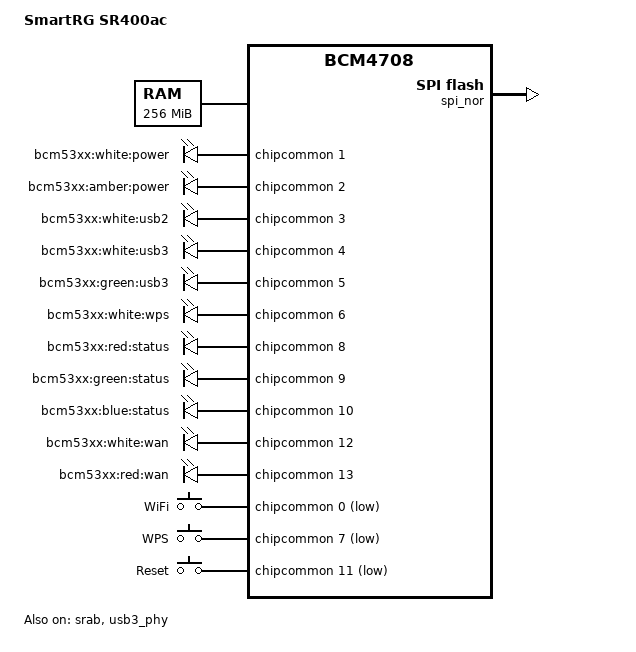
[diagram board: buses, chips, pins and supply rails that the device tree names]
// SPDX-License-Identifier: GPL-2.0-or-later OR MIT
/*
 * Broadcom BCM470X / BCM5301X arm platform code.
 * DTS for SmartRG SR400ac
 *
 * Copyright (C) 2015 Rafał Miłecki <zajec5@gmail.com>
 */

/dts-v1/;

#include "bcm4708.dtsi"
#include "bcm5301x-nand-cs0-bch8.dtsi"

/ {
	compatible = "smartrg,sr400ac", "brcm,bcm4708";
	model = "SmartRG SR400ac";

	chosen {
		bootargs = "console=ttyS0,115200 earlycon";
	};

	memory@0 {
		device_type = "memory";
		reg = <0x00000000 0x08000000>,
		      <0x88000000 0x08000000>;
	};

	leds {
		compatible = "gpio-leds";

		power-white {
			label = "bcm53xx:white:power";
			gpios = <&chipcommon 1 GPIO_ACTIVE_HIGH>;
			linux,default-trigger = "default-on";
		};

		power-amber {
			label = "bcm53xx:amber:power";
			gpios = <&chipcommon 2 GPIO_ACTIVE_HIGH>;
		};

		usb2 {
			label = "bcm53xx:white:usb2";
			gpios = <&chipcommon 3 GPIO_ACTIVE_HIGH>;
			trigger-sources = <&ohci_port2>, <&ehci_port2>;
			linux,default-trigger = "usbport";
		};

		usb3-white {
			label = "bcm53xx:white:usb3";
			gpios = <&chipcommon 4 GPIO_ACTIVE_HIGH>;
			trigger-sources = <&xhci_port1>;
			linux,default-trigger = "usbport";
		};

		usb3-green {
			label = "bcm53xx:green:usb3";
			gpios = <&chipcommon 5 GPIO_ACTIVE_HIGH>;
			trigger-sources = <&ohci_port1>, <&ehci_port1>;
			linux,default-trigger = "usbport";
		};

		wps {
			label = "bcm53xx:white:wps";
			gpios = <&chipcommon 6 GPIO_ACTIVE_HIGH>;
		};

		status-red {
			label = "bcm53xx:red:status";
			gpios = <&chipcommon 8 GPIO_ACTIVE_HIGH>;
		};

		status-green {
			label = "bcm53xx:green:status";
			gpios = <&chipcommon 9 GPIO_ACTIVE_HIGH>;
		};

		status-blue {
			label = "bcm53xx:blue:status";
			gpios = <&chipcommon 10 GPIO_ACTIVE_HIGH>;
		};

		wan-white {
			label = "bcm53xx:white:wan";
			gpios = <&chipcommon 12 GPIO_ACTIVE_HIGH>;
		};

		wan-red {
			label = "bcm53xx:red:wan";
			gpios = <&chipcommon 13 GPIO_ACTIVE_HIGH>;
		};
	};

	gpio-keys {
		compatible = "gpio-keys";

		rfkill {
			label = "WiFi";
			linux,code = <KEY_RFKILL>;
			gpios = <&chipcommon 0 GPIO_ACTIVE_LOW>;
		};

		wps {
			label = "WPS";
			linux,code = <KEY_WPS_BUTTON>;
			gpios = <&chipcommon 7 GPIO_ACTIVE_LOW>;
		};

		restart {
			label = "Reset";
			linux,code = <KEY_RESTART>;
			gpios = <&chipcommon 11 GPIO_ACTIVE_LOW>;
		};
	};
};

&spi_nor {
	status = "okay";
};

&srab {
	status = "okay";

	ports {
		#address-cells = <1>;
		#size-cells = <0>;

		port@0 {
			reg = <0>;
			label = "lan4";
		};

		port@1 {
			reg = <1>;
			label = "lan3";
		};

		port@2 {
			reg = <2>;
			label = "lan2";
		};

		port@3 {
			reg = <3>;
			label = "lan1";
		};

		port@4 {
			reg = <4>;
			label = "wan";
		};

		port@5 {
			reg = <5>;
			label = "cpu";
			ethernet = <&gmac0>;
		};
	};
};

&usb3_phy {
	status = "okay";
};
